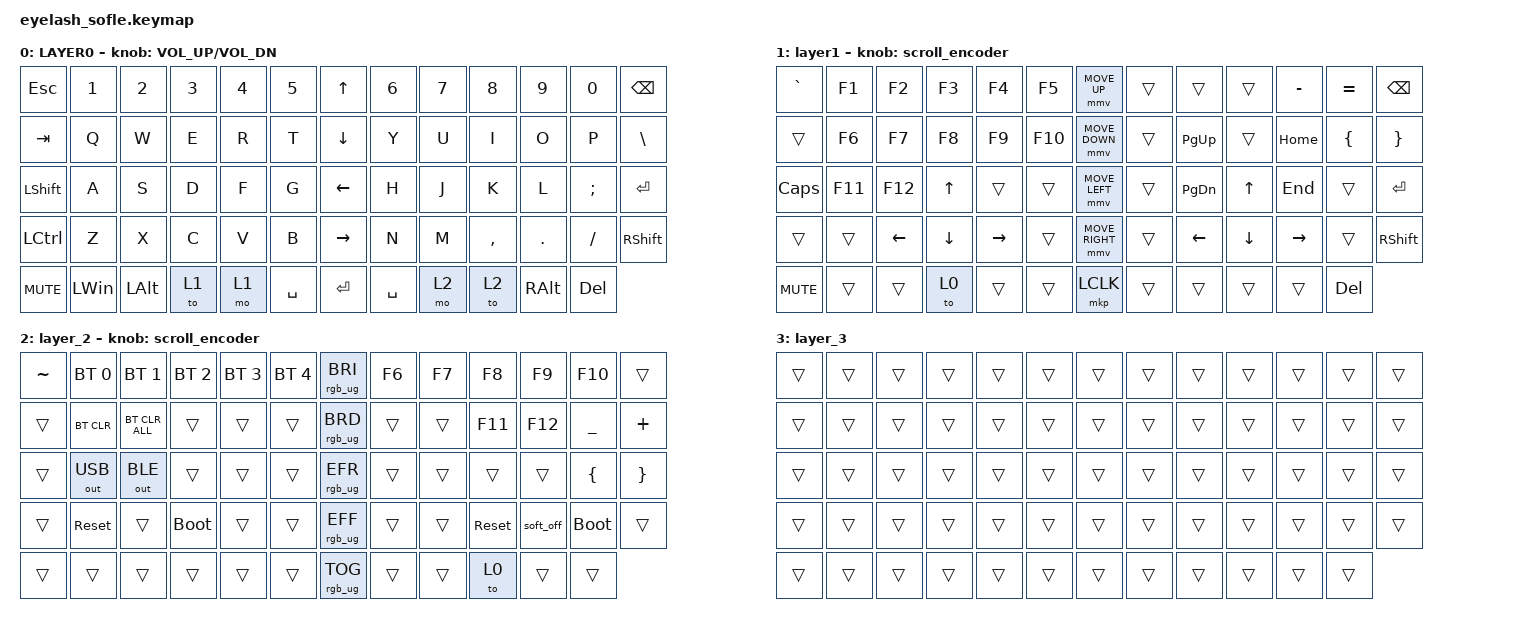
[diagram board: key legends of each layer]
#define ZMK_POINTING_DEFAULT_MOVE_VAL 1200  // 600
#define ZMK_POINTING_DEFAULT_SCRL_VAL 25   // 10

#include <input/processors.dtsi>
#include <zephyr/dt-bindings/input/input-event-codes.h>
#include <behaviors.dtsi>
#include <dt-bindings/zmk/bt.h>
#include <dt-bindings/zmk/keys.h>
#include <dt-bindings/zmk/outputs.h>
#include <dt-bindings/zmk/pointing.h>
#include <dt-bindings/zmk/rgb.h>

&mmv_input_listener { input-processors = <&zip_xy_scaler 2 1>; };

&msc_input_listener { input-processors = <&zip_scroll_scaler 2 1>; };

&msc {
    acceleration-exponent = <1>;      // 0
    time-to-max-speed-ms = <100>;       // 300
    delay-ms = <0>;                   // 0
};

&mmv {
    time-to-max-speed-ms = <500>;
    acceleration-exponent = <1>;
    trigger-period-ms = <16>;
};

/ {
    scroll_encoder: scroll_encoder {
        compatible = "zmk,behavior-sensor-rotate";
        #sensor-binding-cells = <0>;
        bindings = <&msc SCRL_DOWN>, <&msc SCRL_UP>;

        tap-ms = <100>;
    };

    behaviors {
    };

    keymap {
        compatible = "zmk,keymap";

        layer0 {
            bindings = <
&kp ESC           &kp NUMBER_1  &kp N2        &kp N3  &kp N4  &kp N5       &kp UP_ARROW     &kp N6     &kp N7  &kp N8     &kp N9         &kp N0      &kp BACKSPACE
&kp TAB           &kp Q         &kp W         &kp E   &kp R   &kp T        &kp DOWN_ARROW   &kp Y      &kp U   &kp I      &kp O          &kp P       &kp BSLH
&kp LEFT_SHIFT    &kp A         &kp S         &kp D   &kp F   &kp G        &kp LEFT_ARROW   &kp H      &kp J   &kp K      &kp L          &kp SEMI    &kp ENTER
&kp LEFT_CONTROL  &kp Z         &kp X         &kp C   &kp V   &kp B        &kp RIGHT_ARROW  &kp N      &kp M   &kp COMMA  &kp DOT        &kp FSLH    &kp RIGHT_SHIFT
&kp C_MUTE        &kp LEFT_WIN  &kp LEFT_ALT  &to 1   &mo 1   &kp SPACE    &kp ENTER        &kp SPACE  &mo 2   &to 2      &kp RIGHT_ALT  &kp DELETE
            >;

            sensor-bindings = <&inc_dec_kp C_VOLUME_UP C_VOL_DN>;
            display-name = "LAYER0";
        };

        layer_1 {
            bindings = <
&kp GRAVE     &kp F1   &kp F2          &kp F3          &kp F4           &kp F5     &mmv MOVE_UP     &trans  &trans          &trans          &kp MINUS        &kp EQUAL       &kp BACKSPACE
&trans        &kp F6   &kp F7          &kp F8          &kp F9           &kp F10    &mmv MOVE_DOWN   &trans  &kp PAGE_UP     &trans          &kp HOME         &kp LEFT_BRACE  &kp RIGHT_BRACE
&kp CAPSLOCK  &kp F11  &kp F12         &kp UP_ARROW    &trans           &trans     &mmv MOVE_LEFT   &trans  &kp PAGE_DOWN   &kp UP_ARROW    &kp END          &trans          &kp ENTER
&trans        &trans   &kp LEFT_ARROW  &kp DOWN_ARROW  &kp RIGHT_ARROW  &trans     &mmv MOVE_RIGHT  &trans  &kp LEFT_ARROW  &kp DOWN_ARROW  &kp RIGHT_ARROW  &trans          &kp RIGHT_SHIFT
&kp C_MUTE    &trans   &trans          &to 0           &trans           &trans     &mkp LCLK        &trans  &trans          &trans          &trans           &kp DEL
            >;

            display-name = "layer1";
            sensor-bindings = <&scroll_encoder>;
        };

        layer_2 {
            bindings = <
&kp TILDE  &bt BT_SEL 0  &bt BT_SEL 1    &bt BT_SEL 2  &bt BT_SEL 3  &bt BT_SEL 4    &rgb_ug RGB_BRI  &kp F6  &kp F7  &kp F8      &kp F9     &kp F10      &trans
&trans     &bt BT_CLR    &bt BT_CLR_ALL  &trans        &trans        &trans          &rgb_ug RGB_BRD  &trans  &trans  &kp F11     &kp F12    &kp UNDER    &kp PLUS
&trans     &out OUT_USB  &out OUT_BLE    &trans        &trans        &trans          &rgb_ug RGB_EFR  &trans  &trans  &trans      &trans     &kp LBRC     &kp RBRC
&trans     &sys_reset    &trans          &bootloader   &trans        &trans          &rgb_ug RGB_EFF  &trans  &trans  &sys_reset  &soft_off  &bootloader  &trans
&trans     &trans        &trans          &trans        &trans        &trans          &rgb_ug RGB_TOG  &trans  &trans  &to 0       &trans     &trans
            >;

            sensor-bindings = <&scroll_encoder>;
        };

        layer_3 {
            bindings = <
&trans  &trans  &trans  &trans  &trans  &trans    &trans  &trans  &trans  &trans  &trans  &trans  &trans
&trans  &trans  &trans  &trans  &trans  &trans    &trans  &trans  &trans  &trans  &trans  &trans  &trans
&trans  &trans  &trans  &trans  &trans  &trans    &trans  &trans  &trans  &trans  &trans  &trans  &trans
&trans  &trans  &trans  &trans  &trans  &trans    &trans  &trans  &trans  &trans  &trans  &trans  &trans
&trans  &trans  &trans  &trans  &trans  &trans    &trans  &trans  &trans  &trans  &trans  &trans
            >;
        };
    };
};
